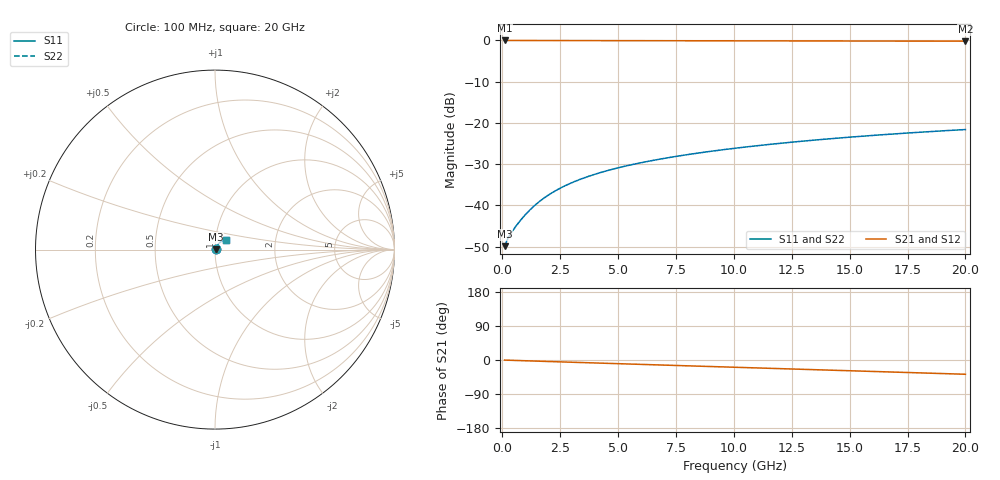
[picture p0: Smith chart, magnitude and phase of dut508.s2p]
! Touchstone file exported from HFSS 2026.1.0
!  File:  C:/ffzhzh/LocalFiles/Ansys_Project_Files/temp_train_BSMRDL_508_1783014340_55676.aedt
!  Generated:  01:47:10 AM Jul  3, 2026
!  Design:  BSMRDL
!  Project:  temp_train_BSMRDL_508_1783014340_55676
! Variables:
!  h_bsmrdl = 5.83um
!  h_ox = 20um
!  h_rdl = 5um
!  h_sub = 80um
!  h_tmrdl = 5um
!  h_tsv = 80um
!  h_via = 3um
!  l_bsmrdl = 682.53um
!  l_sub = 1082.53um
!  l_tmrdl = 200um
!  m_sub = 200um
!  pitch = 20.8um
!  r_tsv = 6um
!  s_tmrdl = 10um
!  w_bsmrdl = 14.36um
!  w_sub = 500um
!  w_tmrdl = 12um
!  x_tsv_center1 = 206um
!  x_tsv_center2 = 902.89um
!  x_tsv_center3 = 1114.89um
!  x_tsv_center4 = 1811.78um
!  x_tsv_center5 = 2023.78um
!  x_tsv_center6 = 2720.67um
# GHz S MA R 50.000000
! Terminal data exported
! Port[1] = BSM_RDL1_1_T1
! Port[2] = BSM_RDL1_1_T2
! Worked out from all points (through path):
!   200 points, 100 MHz to 20 GHz, reference 50 ohm
!   highest |S21| = -0.03 dB at 100 MHz (marker M1); lowest = -0.2 dB at 20 GHz (marker M2)
!   group delay of S21, straight-line fit = 5.2 ps
!   lowest |S11| = -49.9 dB at 100 MHz (marker M3), VSWR 1.01, Z = 50.3 + j0.1 ohm
!   |S11| at or under -10 dB: start of sweep to end of sweep
!   |S22| runs from -49.9 to -21.6 dB; largest |S21 - S12| = 3.2e-15
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0.1  0.003216 18.0  0.9969 -0.2  0.9969 -0.2  0.003216 18.0
! Gamma 0 0 0 0
! Port Impedance 50 0 50 0
0.2  0.003775 27.4  0.9967 -0.4  0.9967 -0.4  0.003768 27.2
0.3  0.004274 33.3  0.9964 -0.6  0.9964 -0.6  0.004253 33.1
0.4  0.004735 38.0  0.9962 -0.8  0.9962 -0.8  0.004706 38.0
0.6  0.005674 45.7  0.9959 -1.2  0.9959 -1.2  0.005645 45.9
0.8  0.006688 51.3  0.9957 -1.6  0.9957 -1.6  0.006667 51.6
1  0.007764 55.4  0.9956 -2.0  0.9956 -2.0  0.007752 55.6
1.4  0.01001 60.2  0.9952 -2.8  0.9952 -2.8  0.01002 60.4
1.8  0.01229 62.5  0.9948 -3.6  0.9948 -3.6  0.01231 62.7
2.3  0.0151 63.8  0.9942 -4.6  0.9942 -4.6  0.01511 63.9
2.9  0.01834 64.0  0.9935 -5.7  0.9935 -5.7  0.01835 64.1
3.5  0.02143 63.7  0.9927 -6.9  0.9927 -6.9  0.02144 63.7
4.2  0.02486 63.0  0.9917 -8.2  0.9917 -8.2  0.02486 63.0
5  0.02858 62.0  0.9907 -9.7  0.9907 -9.7  0.02858 62.0
5.8  0.03214 60.9  0.9897 -11.2  0.9897 -11.2  0.03213 61.0
6.8  0.03641 59.6  0.9885 -13.1  0.9885 -13.1  0.0364 59.7
8.3  0.04253 57.5  0.987 -15.9  0.987 -15.9  0.04252 57.7
10.1  0.04955 55.0  0.9853 -19.3  0.9853 -19.3  0.04954 55.2
11.7  0.05554 52.7  0.984 -22.3  0.984 -22.3  0.05553 52.9
13.4  0.06167 50.2  0.9826 -25.4  0.9826 -25.4  0.06165 50.4
16.7  0.07289 45.1  0.9801 -31.5  0.9801 -31.5  0.07287 45.3
20  0.08313 39.8  0.9777 -37.6  0.9777 -37.6  0.08311 40.1
